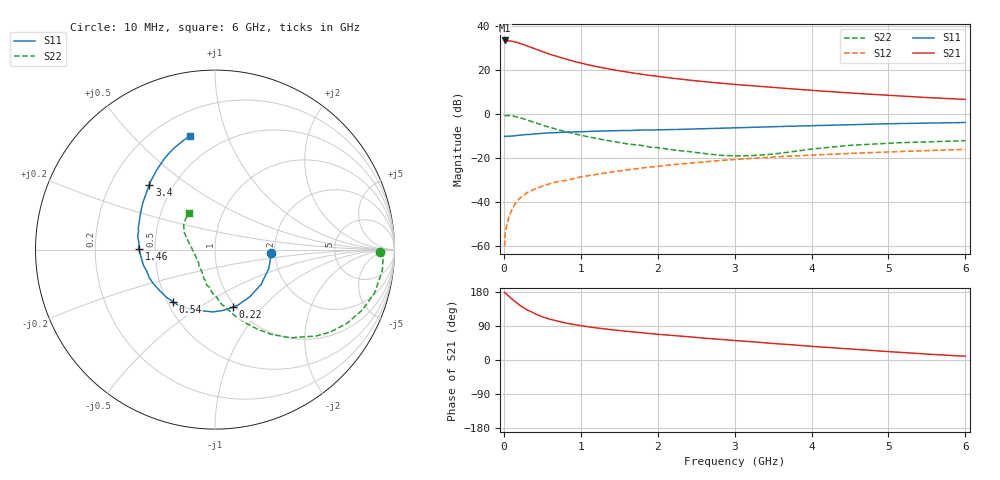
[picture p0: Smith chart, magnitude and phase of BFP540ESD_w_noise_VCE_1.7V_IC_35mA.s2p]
! Infineon Technologies  Discrete & RF Semiconductors
! BFP540ESD
! VCE =  1.7 V,  IC =  35 mA
! Common Emitter S-Parameters:  Nov 2015
# GHz  S  MA  R  50
!  f  S11  S21  S12  S22
! GHz  MAG  ANG  MAG  ANG  MAG  ANG  MAG  ANG
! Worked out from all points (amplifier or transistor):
!   210 points, 10 MHz to 6 GHz, reference 50 ohm
!   highest |S21| = 33.6 dB at 10 MHz (marker M1)
!   |S21| within 3 dB of that: start of sweep to 341.8 MHz
!   unconditionally stable (mu >= 1): start of sweep to 12.81 MHz; 1.687 GHz to end of sweep
!   at 185 MHz: K = 0.30, MSG = 35.8 dB, |S12| = -39.0 dB
!   at 1.52 GHz: K = 0.98, MSG = 22.7 dB, |S12| = -25.7 dB
!   at 6 GHz: K = 1.11, MAG = 9.3 dB, |S12| = -16.0 dB
!   lowest NFmin = 1.52 dB at 900 MHz
!   S11 on the Smith chart (normalised r, x): 10 MHz: 1.91, -0.09; 220 MHz: 0.97, -0.70; 540 MHz: 0.54, -0.36; 1.46 GHz: 0.40, +0.01; 3.4 GHz: 0.37, +0.36; 6 GHz: 0.34, +0.74
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0.01  0.3136 -3.7  47.69 178.0  0.001 114.0  0.9173 -1.0
0.02  0.3129 -8.5  47.09 176.7  0.0021 111.4  0.9381 -2.0
0.06  0.3162 -22.7  47.02 169.2  0.0042 89.8  0.9345 -8.6
0.1  0.3218 -36.9  46.1 162.0  0.0065 82.6  0.9218 -15.1
0.15  0.3267 -53.6  44.12 153.5  0.0094 77.6  0.8869 -22.4
0.2  0.3352 -67.9  41.55 145.7  0.012 73.1  0.8414 -29.2
0.22  0.3358 -73.0  40.37 143.1  0.0128 72.2  0.8213 -31.5
0.3  0.3474 -91.7  36.05 132.6  0.0164 69.6  0.7424 -40.4
0.4  0.358 -110.0  30.89 122.3  0.0198 65.0  0.6492 -49.2
0.5  0.3714 -124.5  26.7 114.0  0.0233 64.5  0.5671 -56.4
0.54  0.3727 -128.7  25.23 111.7  0.0246 63.9  0.5401 -58.5
0.6  0.3785 -135.0  23.12 107.6  0.0265 63.1  0.5011 -62.0
0.7  0.3837 -143.4  20.38 102.3  0.0294 62.6  0.4476 -66.9
0.8  0.3926 -151.3  18.02 97.7  0.0312 62.4  0.4014 -71.7
1.02  0.4005 -163.7  14.31 90.0  0.0381 61.1  0.3262 -79.7
1.46  0.424 179.3  10.01 78.7  0.0501 59.8  0.235 -94.6
2.02  0.444 164.0  7.177 67.6  0.0661 56.3  0.1718 -111.1
3.1  0.4948 140.9  4.626 50.0  0.0961 47.3  0.1136 -157.4
3.4  0.5145 135.3  4.196 45.3  0.104 44.2  0.1201 -174.2
4.1  0.5574 124.2  3.406 34.7  0.1199 37.5  0.1681 158.5
5.1  0.6123 111.3  2.636 20.8  0.1411 28.0  0.2238 140.5
6  0.6492 102.5  2.178 9.9  0.1591 20.7  0.2501 125.5
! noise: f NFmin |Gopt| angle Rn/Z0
0.9  1.52  0.41  -139  0.13
1.8  1.66  0.44  -142  0.13
2.4  1.7  0.44  -132  0.15
3  1.82  0.46  -125  0.19
4  1.87  0.55  -103  0.33
5  2.01  0.6  -88  0.51
6  2.34  0.59  -85  0.77
